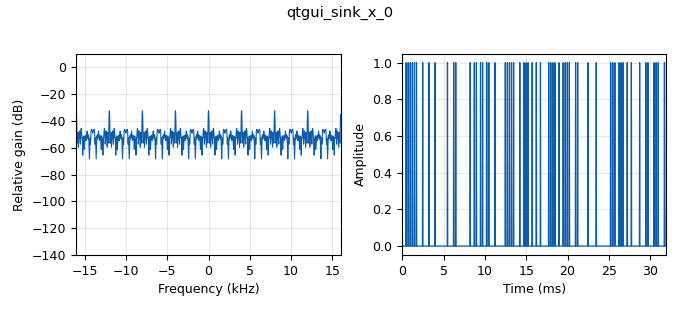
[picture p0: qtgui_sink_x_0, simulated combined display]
options:
  parameters:
    generate_options: qt_gui
    id: throttle_ref
    output_language: python
    title: Not titled yet
  states: {}

blocks:
- name: samp_rate
  id: variable
  parameters:
    value: '32000'
  states: {}
- name: analog_random_source_x_0
  id: analog_random_source_x
  parameters:
    max: '2'
    min: '0'
    num_samps: '1000'
    repeat: 'True'
    type: byte
  states: {}
- name: blocks_char_to_float_0
  id: blocks_char_to_float
  parameters:
    scale: '1'
  states: {}
- name: blocks_throttle2_0
  id: blocks_throttle2
  parameters:
    samples_per_second: samp_rate
    type: complex
  states: {}
- name: digital_gfsk_mod_0
  id: digital_gfsk_mod
  parameters:
    bt: '0.35'
    samples_per_symbol: '2'
    sensitivity: '1.0'
  states: {}
- name: digital_gmsk_demod_0
  id: digital_gmsk_demod
  parameters:
    freq_error: '0.0'
    gain_mu: '0.175'
    mu: '0.5'
    omega_relative_limit: '0.005'
    samples_per_symbol: '2'
  states: {}
- name: qtgui_sink_x_0
  id: qtgui_sink_x
  parameters:
    bw: samp_rate
    fc: '0'
    fftsize: '1024'
    type: float
  states: {}

connections:
- [analog_random_source_x_0, '0', digital_gfsk_mod_0, '0']
- [blocks_char_to_float_0, '0', qtgui_sink_x_0, '0']
- [blocks_throttle2_0, '0', digital_gmsk_demod_0, '0']
- [digital_gfsk_mod_0, '0', blocks_throttle2_0, '0']
- [digital_gmsk_demod_0, '0', blocks_char_to_float_0, '0']

metadata:
  file_format: 1
  grc_version: 3.10.9.2
